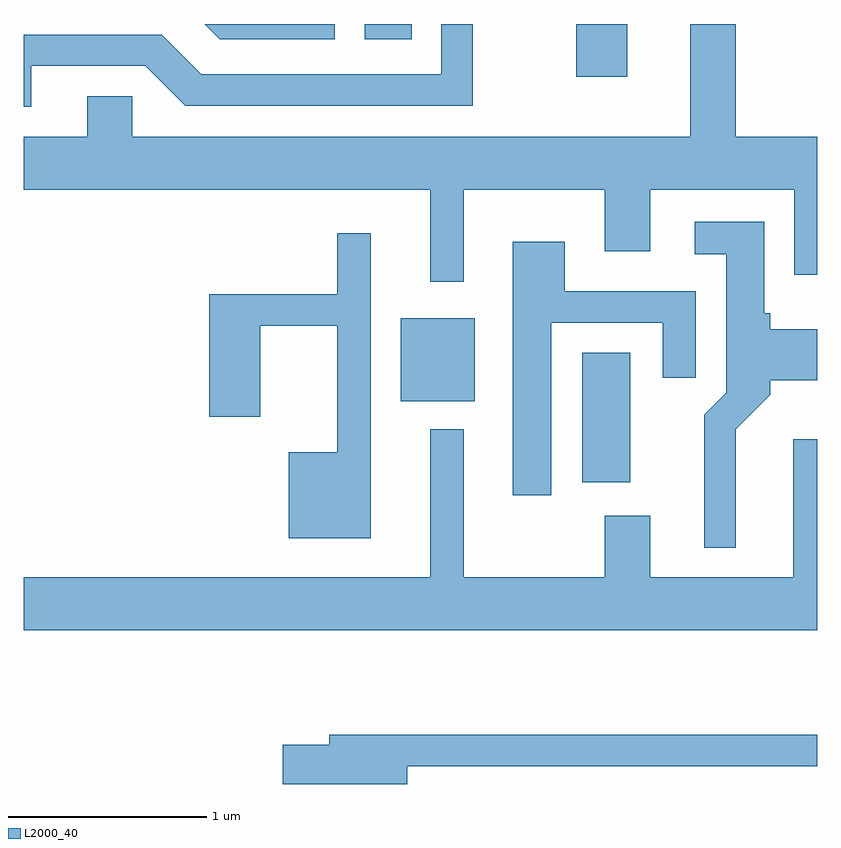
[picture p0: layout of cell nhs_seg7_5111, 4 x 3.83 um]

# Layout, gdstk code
import gdstk
lib = gdstk.Library(unit=1e-6, precision=1e-09)
def R(c, l, rs):  # rectangles x0, y0, x1, y1
    for r in rs: c.add(gdstk.rectangle(r[:2], r[2:], *l))
def P(c, l, *ps):  # polygons
    for p in ps: c.add(gdstk.Polygon(p, *l))
L2000_40 = (2000, 40)

nhs_seg7_5111 = lib.new_cell('nhs_seg7_5111')
R(nhs_seg7_5111, L2000_40, [(344.426,1723.941,344.669,1724.594), (343.511,1724.351,343.884,1724.769), (344.396,1725.986,344.654,1726.252), (343.331,1726.176,343.568,1726.252)])
P(nhs_seg7_5111, L2000_40, [(343.829,1725.416),(344.541,1725.416),(344.541,1725.106),(344.769,1725.106),(344.769,1725.416),(345.496,1725.416),(345.496,1724.988),(345.611,1724.988),(345.611,1725.684),(345.199,1725.684),(345.199,1726.252),(344.971,1726.252),(344.971,1725.684),(342.159,1725.684),(342.159,1725.889),(341.931,1725.889),(341.931,1725.684),(341.611,1725.684),(341.611,1725.416),(343.661,1725.416),(343.661,1724.953),(343.829,1724.953)],
  [(341.649,1726.041),(342.224,1726.041),(342.424,1725.841),(343.874,1725.841),(343.874,1726.252),(343.716,1726.252),(343.716,1725.999),(342.507,1725.999),(342.307,1726.199),(341.611,1726.199),(341.611,1725.836),(341.649,1725.836)],
  [(343.179,1726.252),(342.523,1726.252),(342.599,1726.176),(343.179,1726.176)],
  [(345.199,1724.209),(345.374,1724.384),(345.374,1724.456),(345.611,1724.456),(345.611,1724.714),(345.374,1724.714),(345.374,1724.794),(345.344,1724.794),(345.344,1725.254),(344.993,1725.254),(344.993,1725.091),(345.151,1725.091),(345.151,1724.392),(345.041,1724.282),(345.041,1723.613),(345.199,1723.613)],
  [(343.359,1725.198),(343.191,1725.198),(343.191,1724.889),(342.546,1724.889),(342.546,1724.271),(342.804,1724.271),(342.804,1724.731),(343.191,1724.731),(343.191,1724.094),(342.946,1724.094),(342.946,1723.661),(343.359,1723.661)],
  [(344.269,1724.746),(344.831,1724.746),(344.831,1724.468),(344.999,1724.468),(344.999,1724.904),(344.339,1724.904),(344.339,1725.154),(344.076,1725.154),(344.076,1723.876),(344.269,1723.876)],
  [(345.611,1724.159),(345.491,1724.159),(345.491,1723.464),(344.769,1723.464),(344.769,1723.774),(344.541,1723.774),(344.541,1723.464),(343.829,1723.464),(343.829,1724.208),(343.661,1724.208),(343.661,1723.464),(341.611,1723.464),(341.611,1723.196),(345.611,1723.196)],
  [(343.544,1722.511),(345.611,1722.511),(345.611,1722.669),(343.151,1722.669),(343.151,1722.619),(342.916,1722.619),(342.916,1722.421),(343.544,1722.421)])

lib.write_gds('nhs_seg7_5111.gds')
